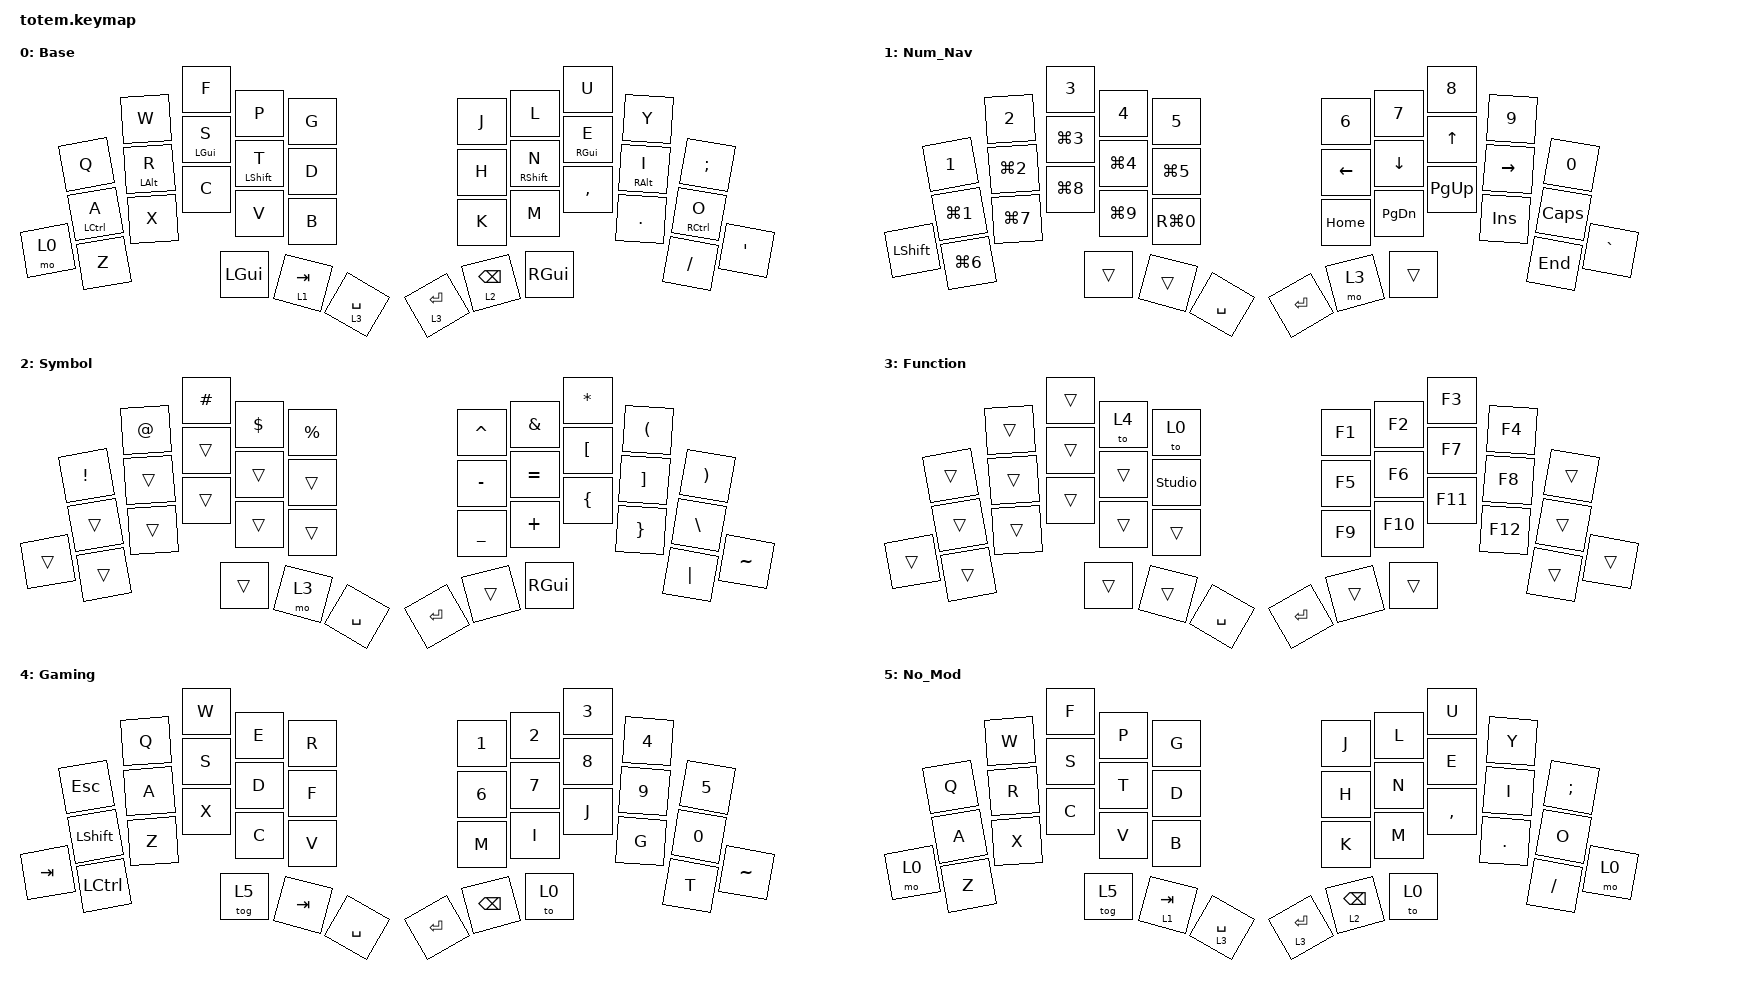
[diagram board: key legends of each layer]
//
//                                                        ▀▀▀▀▀     ▀▀▀▀▀          ▀▀█▀▀
//                                                        ▄▀▀▀▄  ▄  ▄▀▀▀▄  ▄  ▄▀▀▀▄  █  ▄▀▀▀▄
//                                                        █   █  █  █   █  █  █   █  █  █   █
//                                                         ▀▀▀   █   ▀▀▀   █   ▀▀▀   ▀   ▀▀▀
//                                                               █      ▄▄▄█▄▄▄    █   █  
//                                                               ▀      █  █  █     █▄█
//                                                             ▀▀▀▀▀    █  █  █      ▀
//                                                                      ▀  ▀  ▀
//
// ▄▄▄▄▄▄▄▄▄▄▄▄▄▄▄▄▄▄▄▄▄▄▄▄▄▄▄▄▄▄▄▄▄▄▄▄▄▄▄▄▄▄▄▄▄▄▄▄▄▄▄▄▄▄▄▄▄▄▄▄▄▄▄▄▄▄▄▄▄▄▄▄▄▄▄▄▄▄▄▄▄▄▄▄▄▄▄▄▄▄▄▄▄▄▄▄▄▄▄▄▄▄▄▄▄▄▄▄▄▄▄▄▄▄▄▄▄▄▄▄▄▄▄▄▄▄▄▄▄▄▄▄▄▄▄▄▄▄▄▄▄▄▄▄▄▄▄▄▄

#include <behaviors.dtsi>
#include <dt-bindings/zmk/keys.h>

#define Base 0
#define Num_Nav  1
#define Symbol  2
#define Function  3
#define Gaming 4
#define No_Mod 5

&mt {
    quick-tap-ms = <100>;
    flavor = "tap-preferred";
    tapping-term-ms = <170>;
};

/ {
    combos {
        compatible = "zmk,combos";

        esc {
            bindings = <&kp ESC>;
            key-positions = <3 2>;
        };

        tab {
            bindings = <&kp TAB>;
            key-positions = <2 1>;
        };

        bspc {
            bindings = <&kp BSPC>;
            key-positions = <8 7>;
        };

        caps {
            bindings = <&kp CAPS>;
            key-positions = <4 5>;
        };

        undo {
            bindings = <&kp LC(Z)>;
            key-positions = <21 22>;
        };

        redo {
            bindings = <&kp LC(Y)>;
            key-positions = <22 23>;
        };

        copy {
            bindings = <&kp LC(C)>;
            key-positions = <23 24>;
        };

        paste {
            bindings = <&kp LC(V)>;
            key-positions = <24 25>;
        };
    };

    keymap {
        compatible = "zmk,keymap";

        // ▄▄▄▄▄▄▄▄▄▄▄▄▄▄▄▄▄▄▄▄▄▄▄▄▄▄▄▄▄▄▄▄▄▄▄▄▄▄▄▄▄▄▄▄▄▄▄▄▄▄▄▄▄▄▄▄▄▄▄▄▄▄▄▄▄▄▄▄▄▄▄▄▄▄▄▄▄▄▄▄▄▄▄▄▄▄▄▄▄▄▄▄▄▄▄▄▄▄▄▄▄▄▄▄▄▄▄▄▄▄▄▄▄▄▄▄▄▄▄▄▄▄▄▄▄▄▄▄▄▄▄▄▄▄▄▄▄▄▄▄▄▄▄▄▄▄▄▄▄

        Base {
            display-name = "Base";
            bindings = <
       &kp Q        &kp W       &kp F       &kp P         &kp G          &kp J        &kp L         &kp U       &kp Y       &kp SEMI
       &mt LCTRL A  &mt LALT R  &mt LGUI S  &mt LSHIFT T  &kp D          &kp H        &mt RSHIFT N  &mt RGUI E  &mt RALT I  &mt RCTRL O
&mo 0  &kp Z        &kp X       &kp C       &kp V         &kp B          &kp K        &kp M         &kp COMMA   &kp DOT     &kp FSLH     &kp SQT
                                &kp LGUI    &lt 1 TAB     &lt 3 SPACE    &lt 3 ENTER  &lt 2 BSPC    &kp RGUI
            >;
        };

        // ▄▄▄▄▄▄▄▄▄▄▄▄▄▄▄▄▄▄▄▄▄▄▄▄▄▄▄▄▄▄▄▄▄▄▄▄▄▄▄▄▄▄▄▄▄▄▄▄▄▄▄▄▄▄▄▄▄▄▄▄▄▄▄▄▄▄▄▄▄▄▄▄▄▄▄▄▄▄▄▄▄▄▄▄▄▄▄▄▄▄▄▄▄▄▄▄▄▄▄▄▄▄▄▄▄▄▄▄▄▄▄▄▄▄▄▄▄▄▄▄▄▄▄▄▄▄▄▄▄▄▄▄▄▄▄▄▄▄▄▄▄▄▄▄▄▄▄▄▄

        Num-Nav {
            display-name = "Num_Nav";
            bindings = <
                &kp N1      &kp N2      &kp N3      &kp N4      &kp N5        &kp N6    &kp N7     &kp N8     &kp N9     &kp N0
                &kp LG(N1)  &kp LG(N2)  &kp LG(N3)  &kp LG(N4)  &kp LG(N5)    &kp LEFT  &kp DOWN   &kp UP     &kp RIGHT  &kp CAPSLOCK
&kp LEFT_SHIFT  &kp LG(N6)  &kp LG(N7)  &kp LG(N8)  &kp LG(N9)  &kp RG(N0)    &kp HOME  &kp PG_DN  &kp PG_UP  &kp INS    &kp END       &kp GRAVE
                                        &trans      &trans      &kp SPACE     &kp RET   &mo 3      &trans
            >;
        };

        // ▄▄▄▄▄▄▄▄▄▄▄▄▄▄▄▄▄▄▄▄▄▄▄▄▄▄▄▄▄▄▄▄▄▄▄▄▄▄▄▄▄▄▄▄▄▄▄▄▄▄▄▄▄▄▄▄▄▄▄▄▄▄▄▄▄▄▄▄▄▄▄▄▄▄▄▄▄▄▄▄▄▄▄▄▄▄▄▄▄▄▄▄▄▄▄▄▄▄▄▄▄▄▄▄▄▄▄▄▄▄▄▄▄▄▄▄▄▄▄▄▄▄▄▄▄▄▄▄▄▄▄▄▄▄▄▄▄▄▄▄▄▄▄▄▄▄▄▄▄

        Symbol {
            display-name = "Symbol";
            bindings = <
        &kp EXCL  &kp AT  &kp HASH  &kp DLLR  &kp PRCNT    &kp CARET  &kp AMPS   &kp STAR  &kp LPAR  &kp RPAR
        &trans    &trans  &trans    &trans    &trans       &kp MINUS  &kp EQUAL  &kp LBKT  &kp RBKT  &kp BSLH
&trans  &trans    &trans  &trans    &trans    &trans       &kp UNDER  &kp PLUS   &kp LBRC  &kp RBRC  &kp PIPE  &kp TILDE
                          &trans    &mo 3     &kp SPACE    &kp RET    &trans     &kp RGUI
            >;
        };

        // ▄▄▄▄▄▄▄▄▄▄▄▄▄▄▄▄▄▄▄▄▄▄▄▄▄▄▄▄▄▄▄▄▄▄▄▄▄▄▄▄▄▄▄▄▄▄▄▄▄▄▄▄▄▄▄▄▄▄▄▄▄▄▄▄▄▄▄▄▄▄▄▄▄▄▄▄▄▄▄▄▄▄▄▄▄▄▄▄▄▄▄▄▄▄▄▄▄▄▄▄▄▄▄▄▄▄▄▄▄▄▄▄▄▄▄▄▄▄▄▄▄▄▄▄▄▄▄▄▄▄▄▄▄▄▄▄▄▄▄▄▄▄▄▄▄▄▄▄▄

        Function {
            display-name = "Function";
            bindings = <
        &trans  &trans  &trans  &to 4   &to 0        &kp F1   &kp F2   &kp F3   &kp F4   &trans
        &trans  &trans  &trans &trans &studio_unlock &kp F5   &kp F6   &kp F7   &kp F8   &trans
&trans  &trans  &trans  &trans  &trans  &trans       &kp F9   &kp F10  &kp F11  &kp F12  &trans  &trans
                        &trans  &trans  &kp SPACE    &kp RET  &trans   &trans
            >;
        };

        // ▄▄▄▄▄▄▄▄▄▄▄▄▄▄▄▄▄▄▄▄▄▄▄▄▄▄▄▄▄▄▄▄▄▄▄▄▄▄▄▄▄▄▄▄▄▄▄▄▄▄▄▄▄▄▄▄▄▄▄▄▄▄▄▄▄▄▄▄▄▄▄▄▄▄▄▄▄▄▄▄▄▄▄▄▄▄▄▄▄▄▄▄▄▄▄▄▄▄▄▄▄▄▄▄▄▄▄▄▄▄▄▄▄▄▄▄▄▄▄▄▄▄▄▄▄▄▄▄▄▄▄▄▄▄▄▄▄▄▄▄▄▄▄▄▄▄▄▄▄

        Gaming {
            display-name = "Gaming";
            bindings = <
         &kp ESC    &kp Q  &kp W   &kp E    &kp R        &kp N1   &kp N2    &kp N3  &kp N4  &kp N5
         &kp LSHFT  &kp A  &kp S   &kp D    &kp F        &kp N6   &kp N7    &kp N8  &kp N9  &kp N0
&kp TAB  &kp LCTRL  &kp Z  &kp X   &kp C    &kp V        &kp M    &kp I     &kp J   &kp G   &kp T   &kp TILDE
                           &tog 5  &kp TAB  &kp SPACE    &kp RET  &kp BSPC  &to 0
            >;
        };

        // ▄▄▄▄▄▄▄▄▄▄▄▄▄▄▄▄▄▄▄▄▄▄▄▄▄▄▄▄▄▄▄▄▄▄▄▄▄▄▄▄▄▄▄▄▄▄▄▄▄▄▄▄▄▄▄▄▄▄▄▄▄▄▄▄▄▄▄▄▄▄▄▄▄▄▄▄▄▄▄▄▄▄▄▄▄▄▄▄▄▄▄▄▄▄▄▄▄▄▄▄▄▄▄▄▄▄▄▄▄▄▄▄▄▄▄▄▄▄▄▄▄▄▄▄▄▄▄▄▄▄▄▄▄▄▄▄▄▄▄▄▄▄▄▄▄▄▄▄▄

        No_Mod {
            display-name = "No_Mod";
            bindings = <
       &kp Q  &kp W  &kp F   &kp P      &kp G          &kp J        &kp L       &kp U      &kp Y    &kp SEMI
       &kp A  &kp R  &kp S   &kp T      &kp D          &kp H        &kp N       &kp E      &kp I    &kp O
&mo 0  &kp Z  &kp X  &kp C   &kp V      &kp B          &kp K        &kp M       &kp COMMA  &kp DOT  &kp FSLH  &mo 0
                     &tog 5  &lt 1 TAB  &lt 3 SPACE    &lt 3 ENTER  &lt 2 BSPC  &to 0
            >;
        };

        // ▄▄▄▄▄▄▄▄▄▄▄▄▄▄▄▄▄▄▄▄▄▄▄▄▄▄▄▄▄▄▄▄▄▄▄▄▄▄▄▄▄▄▄▄▄▄▄▄▄▄▄▄▄▄▄▄▄▄▄▄▄▄▄▄▄▄▄▄▄▄▄▄▄▄▄▄▄▄▄▄▄▄▄▄▄▄▄▄▄▄▄▄▄▄▄▄▄▄▄▄▄▄▄▄▄▄▄▄▄▄▄▄▄▄▄▄▄▄▄▄▄▄▄▄▄▄▄▄▄▄▄▄▄▄▄▄▄▄▄▄▄▄▄▄▄▄▄▄▄
    };
};
